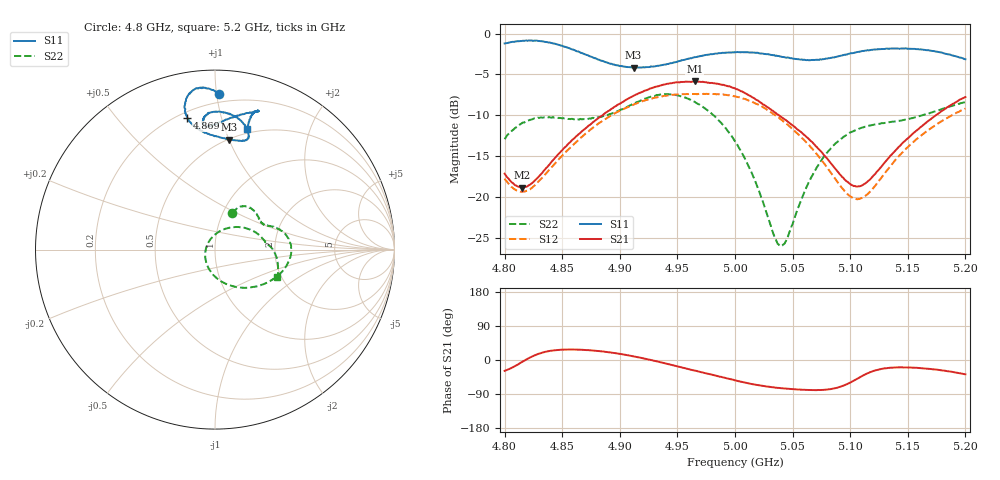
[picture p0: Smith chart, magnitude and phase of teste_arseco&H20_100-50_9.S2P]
! Network Analyzer HP8722D
! Hewlett-Packard
! Data name: Linha & Wilkinson
! Saver's name: Rodrigo Anjos
! Comments: Teste da utilização de aquisição
! continua pelo VNA HP8722D
! Time and date: 6/5/2025 12:38
!  Frequency  S11  S21  S12  S22
# HZ  S  MA R 50
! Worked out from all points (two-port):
!   401 points, 4.8 GHz to 5.2 GHz, reference 50 ohm
!   highest |S21| = -5.87 dB at 4.965 GHz (marker M1); lowest = -18.9 dB at 4.815 GHz (marker M2)
!   |S21| within 3 dB of the highest: 4.897 GHz to 5.027 GHz (129.9 MHz wide, 2.62 % of centre); 5.186171 GHz to end of sweep
!   lowest |S11| = -4.2 dB at 4.912 GHz (marker M3), VSWR 4.23, Z = 25.2 + j49.9 ohm
!   |S11| at or under -10 dB: nowhere
!   |S22| runs from -26.1 to -7.4 dB; largest |S21 - S12| = 0.88
!   S11 on the Smith chart (normalised r, x): 4.8 GHz: 0.14, +1.01; 4.869 GHz: 0.23, +0.78; 5.2 GHz: 0.46, +1.19
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4.8e9  0.8693 88.7  0.1385 -28.6  0.129 99.6  0.2252 64.7
4.815e9  0.8999 93.2  0.1137 -5.5  0.1071 119.8  0.2818 58.4
4.826e9  0.9046 96.3  0.1253 12.1  0.117 136.3  0.3023 51.7
4.845e9  0.8595 100.5  0.1768 26.3  0.1636 150.9  0.3056 40.2
4.867e9  0.7592 101.9  0.2511 26.8  0.2326 154.7  0.2981 31.1
4.869e9  0.7496 101.9  0.2579 26.6  0.2393 154.6  0.2986 30.5
4.912e9  0.6176 82.9  0.4152 9.6  0.3666 143.1  0.3715 18.0
4.934e9  0.6347 74.0  0.477 -5.0  0.4096 131.3  0.4208 5.0
4.965e9  0.715 76.6  0.5086 -28.0  0.4265 111.9  0.3815 -22.0
4.984e9  0.7527 82.2  0.4933 -41.6  0.4241 99.3  0.3032 -43.0
5e9  0.7677 87.5  0.4612 -53.7  0.4127 88.0  0.2183 -66.6
5.02e9  0.7613 93.0  0.3882 -66.6  0.3671 74.4  0.1124 -107.6
5.034e9  0.7372 94.9  0.3302 -72.2  0.3201 66.8  0.05749 -160.0
5.039e9  0.7236 95.2  0.3121 -73.9  0.3003 64.7  0.04994 168.5
5.045e9  0.7109 95.6  0.2915 -75.8  0.2782 62.3  0.05509 129.8
5.067e9  0.689 93.1  0.2162 -79.2  0.1973 58.5  0.1343 61.1
5.085e9  0.7134 87.2  0.1547 -75.7  0.1346 64.1  0.2052 36.3
5.105e9  0.7659 79.1  0.1155 -51.4  0.09702 92.2  0.2567 19.2
5.116e9  0.788 75.3  0.1255 -34.1  0.1053 111.5  0.272 13.3
5.134e9  0.8069 72.8  0.1749 -20.6  0.1511 126.4  0.2863 7.8
5.17e9  0.7843 74.5  0.2986 -23.7  0.2627 122.0  0.3273 -1.4
5.2e9  0.6953 75.1  0.4079 -37.8  0.3474 110.6  0.3799 -23.9
